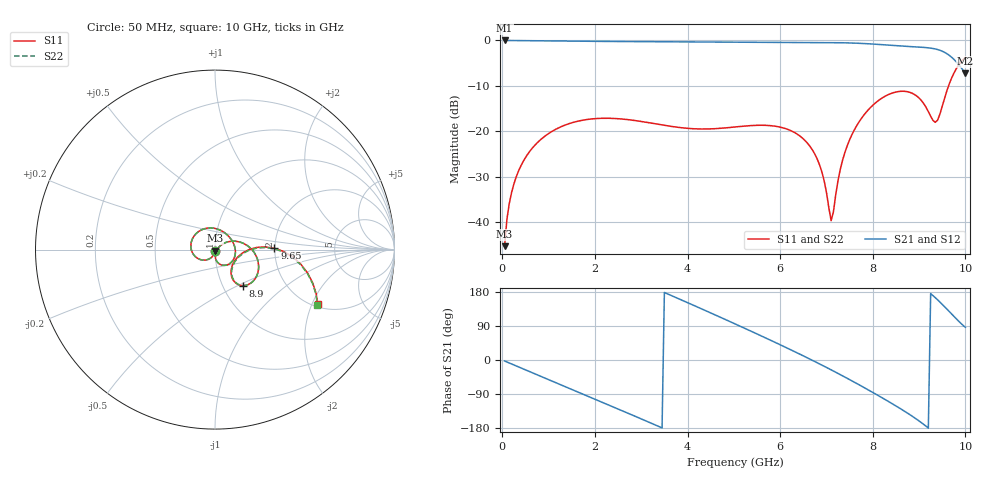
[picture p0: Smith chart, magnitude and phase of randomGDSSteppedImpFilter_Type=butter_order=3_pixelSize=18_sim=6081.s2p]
! freq	dB(S11)	phase(S11)	dB(S12)	phase(S12)
!  dB(S21)	phase(S21)	dB(S22)	phase(S22)
!S-par simulation data
#  GHz  S  DB  R 50
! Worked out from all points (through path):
!   200 points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, 50 MHz to 10 GHz, reference 50 ohm
!   highest |S21| = 0.00 dB at 50 MHz (marker M1); lowest = -7.2 dB at 10 GHz (marker M2)
!   group delay of S21, straight-line fit = 164 ps
!   lowest |S11| = -45.3 dB at 50 MHz (marker M3), VSWR 1.01, Z = 50 - j0.546 ohm
!   |S11| at or under -10 dB: start of sweep to 9.637 GHz
!   |S22| runs from -45.3 to -3.8 dB; largest |S21 - S12| = 0
!   S11 on the Smith chart (normalised r, x): 50 MHz: 1.00, -0.01; 8.9 GHz: 1.24, -0.53; 9.65 GHz: 1.99, +0.03; 10 GHz: 2.10, -2.21
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0.05  -45.25 -91.7  -0.00 -2.6  -0.00 -2.6  -45.25 -91.7
0.1  -39.36 -94.2  -0.01 -5.3  -0.01 -5.3  -39.36 -94.2
0.2  -33.48 -99.9  -0.02 -10.5  -0.02 -10.5  -33.48 -99.9
0.5  -25.77 -116.5  -0.05 -26.0  -0.05 -26.0  -25.77 -116.4
1.15  -19.57 -150.5  -0.12 -59.5  -0.12 -59.5  -19.57 -150.4
1.75  -17.52 178.4  -0.18 -90.4  -0.18 -90.4  -17.52 178.5
2.5  -17.21 139.3  -0.23 -129.2  -0.23 -129.2  -17.22 139.5
3.4  -18.50 91.8  -0.28 -176.5  -0.28 -176.5  -18.50 92.1
4.15  -19.44 51.6  -0.32 143.3  -0.32 143.3  -19.44 52.0
5.05  -19.01 3.6  -0.38 94.0  -0.38 94.0  -19.01 4.0
5.8  -18.75 -36.6  -0.43 51.8  -0.43 51.8  -18.75 -36.3
6.7  -24.14 -82.8  -0.45 -1.1  -0.45 -1.1  -24.14 -82.6
6.9  -28.90 -87.5  -0.46 -13.4  -0.46 -13.4  -28.90 -87.3
7.1  -39.65 -34.3  -0.47 -25.9  -0.47 -25.9  -39.68 -34.0
7.3  -28.30 35.9  -0.50 -38.7  -0.50 -38.7  -28.29 36.2
7.55  -20.73 29.2  -0.57 -55.1  -0.57 -55.1  -20.72 29.5
7.95  -14.76 6.5  -0.76 -82.1  -0.76 -82.1  -14.76 6.8
8.35  -11.85 -18.6  -1.04 -110.2  -1.04 -110.2  -11.85 -18.3
8.9  -11.88 -52.1  -1.40 -152.3  -1.40 -152.3  -11.85 -51.6
9.35  -18.01 -31.8  -1.88 164.5  -1.88 164.5  -17.75 -31.6
9.65  -9.61 1.3  -3.27 128.1  -3.27 128.1  -9.56 0.7
10  -3.77 -28.1  -7.22 86.2  -7.22 86.2  -3.76 -28.5
